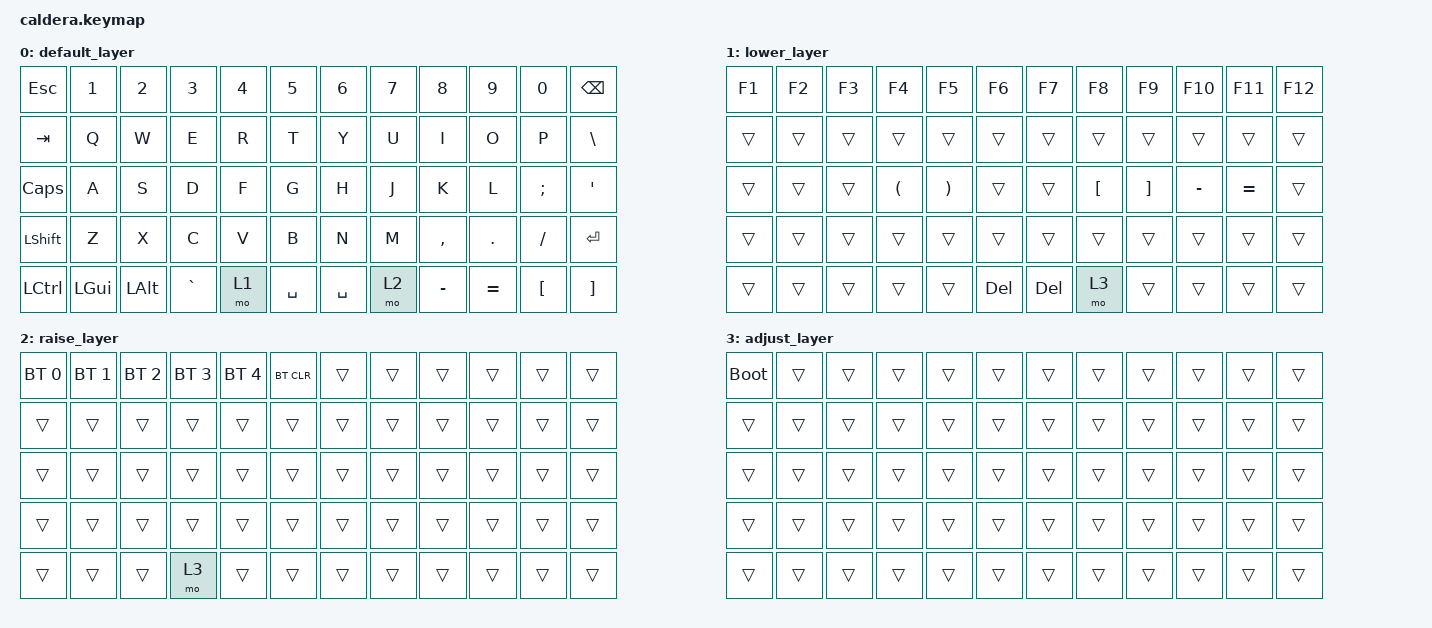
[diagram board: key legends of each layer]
/*
 * ForMatrix (Caldera) Keymap
 * 
 * Layers:
 * - Layer 0: Default (QWERTY)
 * - Layer 1: Function keys + Symbols
 * - Layer 2: Bluetooth + Settings + Reset
 * 
 * Software Reset: Hold LOWER + RAISE + R
 */

#include <behaviors.dtsi>
#include <dt-bindings/zmk/keys.h>
#include <dt-bindings/zmk/bt.h>
#include <dt-bindings/zmk/outputs.h>

/ {
    behaviors {
        // Software reset - hold both layer keys then press R
        // Or access via Layer 2 (BT layer)
    };

    keymap {
        compatible = "zmk,keymap";

        // ============================================================
        // Layer 0: Default Layer (QWERTY)
        // ============================================================
        default_layer {
            // -----------------------------------------------------------------
            // | ESC  |  1  |  2  |  3  |  4  |  5  |   |  6  |  7  |  8  |  9  |  0  | BKSP |
            // | TAB  |  Q  |  W  |  E  |  R  |  T  |   |  Y  |  U  |  I  |  O  |  P  |  \   |
            // | CAPS |  A  |  S  |  D  |  F  |  G  |   |  H  |  J  |  K  |  L  |  ;  |  '   |
            // | SHFT |  Z  |  X  |  C  |  V  |  B  |   |  N  |  M  |  ,  |  .  |  /  | ENT  |
            // | CTRL | GUI | ALT |  `  | LOW | SPC |   | SPC | RAIS|  -  |  =  |  [  |  ]   |
            // -----------------------------------------------------------------
            bindings = <
&kp ESC   &kp N1    &kp N2    &kp N3    &kp N4    &kp N5       &kp N6    &kp N7    &kp N8    &kp N9    &kp N0    &kp BSPC
&kp TAB   &kp Q     &kp W     &kp E     &kp R     &kp T        &kp Y     &kp U     &kp I     &kp O     &kp P     &kp BSLH
&kp CAPS  &kp A     &kp S     &kp D     &kp F     &kp G        &kp H     &kp J     &kp K     &kp L     &kp SEMI  &kp APOS
&kp LSHFT &kp Z     &kp X     &kp C     &kp V     &kp B        &kp N     &kp M     &kp COMMA &kp DOT   &kp FSLH  &kp RET
&kp LCTRL &kp LGUI  &kp LALT  &kp GRAVE &mo 1     &kp SPACE    &kp SPACE &mo 2     &kp MINUS &kp EQUAL &kp LBKT  &kp RBKT
            >;
        };

        // ============================================================
        // Layer 1: Function Keys + Symbols (LOWER)
        // ============================================================
        lower_layer {
            // -----------------------------------------------------------------
            // | F1   | F2  | F3  | F4  | F5  | F6  |   | F7  | F8  | F9  | F10 | F11 | F12  |
            // |      |     |     |     |     |     |   |     |     |     |     |     |      |
            // |      |     |     |  (  |  )  |     |   |     |  [  |  ]  |  -  |  =  |      |
            // |      |     |     |     |     |     |   |     |     |     |     |     |      |
            // |      |     |     | ___ | ___ | DEL |   | DEL | ___ |     |     |     |      |
            // -----------------------------------------------------------------
            bindings = <
&kp F1    &kp F2    &kp F3    &kp F4    &kp F5    &kp F6       &kp F7    &kp F8    &kp F9    &kp F10   &kp F11   &kp F12
&trans    &trans    &trans    &trans    &trans    &trans       &trans    &trans    &trans    &trans    &trans    &trans
&trans    &trans    &trans    &kp LPAR  &kp RPAR  &trans       &trans    &kp LBKT  &kp RBKT  &kp MINUS &kp EQUAL &trans
&trans    &trans    &trans    &trans    &trans    &trans       &trans    &trans    &trans    &trans    &trans    &trans
&trans    &trans    &trans    &trans    &trans    &kp DEL      &kp DEL   &mo 3     &trans    &trans    &trans    &trans
            >;
        };

        // ============================================================
        // Layer 2: Bluetooth + Settings (RAISE)
        // ============================================================
        raise_layer {
            // -----------------------------------------------------------------
            // | BT1  | BT2 | BT3 | BT4 | BT5 |BT_CLR|  |     |     |     |     |     |      |
            // |      |     |     |     |     |      |  |     |     |     |     |     |      |
            // |      |     |     |     |     |      |  |     |     |     |     |     |      |
            // |      |     |     |     |     |      |  |     |     |     |     |     |      |
            // |      |     |     | ___ | ___ |      |  |     | ___ |     |     |     |      |
            // -----------------------------------------------------------------
            bindings = <
&bt BT_SEL 0 &bt BT_SEL 1 &bt BT_SEL 2 &bt BT_SEL 3 &bt BT_SEL 4 &bt BT_CLR    &trans    &trans    &trans    &trans    &trans    &trans
&trans       &trans       &trans       &trans       &trans       &trans        &trans    &trans    &trans    &trans    &trans    &trans
&trans       &trans       &trans       &trans       &trans       &trans        &trans    &trans    &trans    &trans    &trans    &trans
&trans       &trans       &trans       &trans       &trans       &trans        &trans    &trans    &trans    &trans    &trans    &trans
&trans       &trans       &trans       &mo 3        &trans       &trans        &trans    &trans    &trans    &trans    &trans    &trans
            >;
        };

        // ============================================================
        // Layer 3: Adjust Layer (LOWER + RAISE) - RESET
        // ============================================================
        adjust_layer {
            // -----------------------------------------------------------------
            // | RST  |     |     |     |     |     |   |     |     |     |     |     |      |
            // |      |     |     |     |     |     |   |     |     |     |     |     |      |
            // |      |     |     |     |     |     |   |     |     |     |     |     |      |
            // |      |     |     |     |     |     |   |     |     |     |     |     |      |
            // |      |     |     | ___ | ___ |     |   |     | ___ |     |     |     |      |
            // -----------------------------------------------------------------
            bindings = <
&bootloader   &trans     &trans     &trans     &trans     &trans       &trans    &trans    &trans    &trans    &trans    &trans
&trans        &trans     &trans     &trans     &trans     &trans       &trans    &trans    &trans    &trans    &trans    &trans
&trans        &trans     &trans     &trans     &trans     &trans       &trans    &trans    &trans    &trans    &trans    &trans
&trans        &trans     &trans     &trans     &trans     &trans       &trans    &trans    &trans    &trans    &trans    &trans
&trans        &trans     &trans     &trans     &trans     &trans       &trans    &trans    &trans    &trans    &trans    &trans
            >;
        };
    };
};
